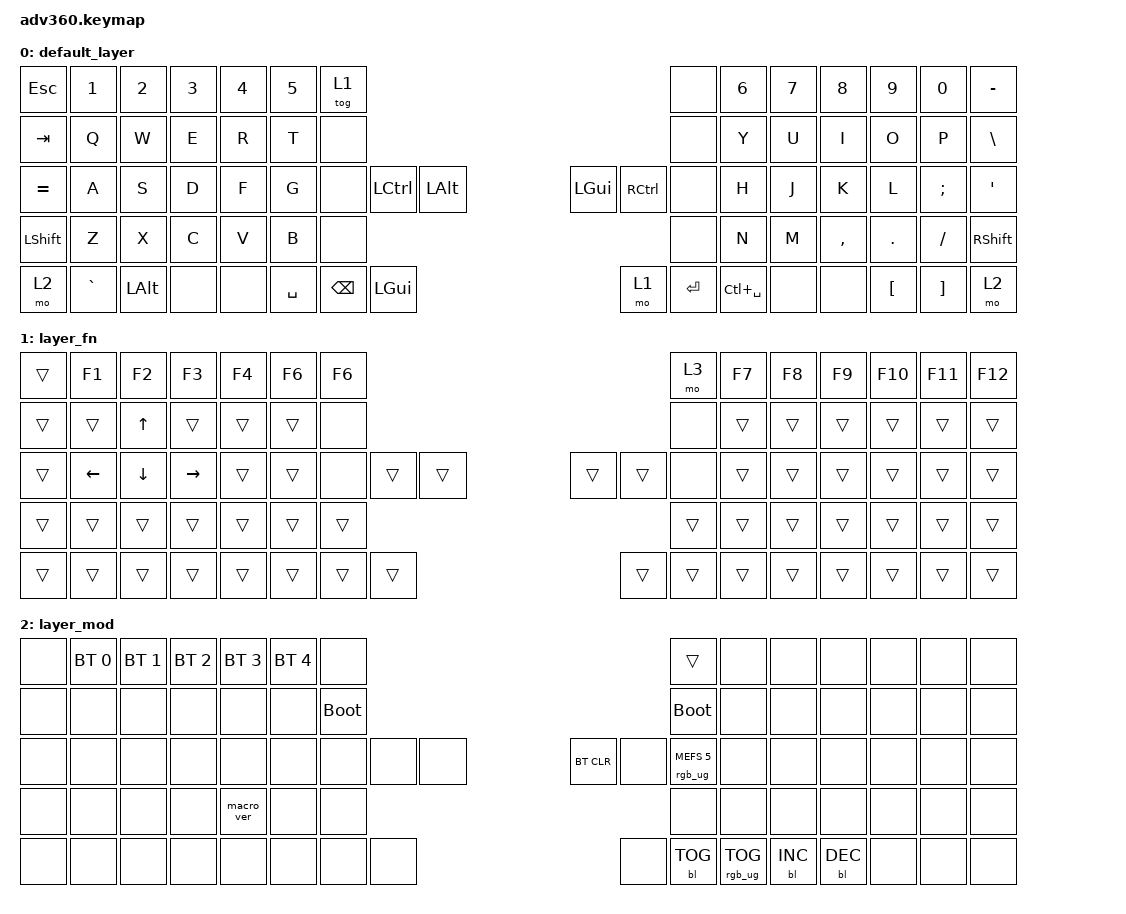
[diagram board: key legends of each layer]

/*
 * Copyright (c) 2020 The ZMK Contributors
 *
 * SPDX-License-Identifier: MIT
 */


/* THIS FILE WAS GENERATED!
 *
 * This file was generated automatically. You may or may not want to
 * edit it directly.
 */

#include <behaviors.dtsi>
#include <dt-bindings/zmk/keys.h>
#include <dt-bindings/zmk/bt.h>
#include <dt-bindings/zmk/rgb.h>
#include <dt-bindings/zmk/backlight.h>

/ {
  behaviors {
    #include "macros.dtsi"
    #include "version.dtsi"

    hm: homerow_mods {
        compatible = "zmk,behavior-hold-tap";
        label = "HOMEROW_MODS";
        #binding-cells = <2>;
        tapping-term-ms = <200>;
        quick_tap_ms = <175>;
        flavor = "tap-preferred";
        bindings = <&kp>, <&kp>;
    };
  };

    keymap {
        compatible = "zmk,keymap";


        default_layer {
            bindings = <
   &kp ESC     &kp N1        &kp N2  &kp N3  &kp N4  &kp N5               &tog 1                                                                        &none  &kp N6  &kp N7     &kp N8    &kp N9    &kp N0  &kp MINUS
   &kp TAB      &kp Q         &kp W   &kp E   &kp R   &kp T                &none                                                                        &none   &kp Y   &kp U      &kp I     &kp O     &kp P   &kp BSLH
 &kp EQUAL      &kp A         &kp S   &kp D   &kp F   &kp G                &none      &kp LCTRL  &kp LALT                  &kp LGUI  &kp RCTRL          &none   &kp H   &kp J      &kp K     &kp L  &kp SEMI    &kp SQT
 &kp LSHFT      &kp Z         &kp X   &kp C   &kp V   &kp B                                         &none                     &none                             &kp N   &kp M  &kp COMMA   &kp DOT  &kp FSLH  &kp RSHFT
     &mo 2  &kp GRAVE  &kp LEFT_ALT   &none   &none                    &kp SPACE  &kp BACKSPACE  &kp LGUI                     &mo 1  &kp ENTER  &kp LC(SPACE)           &none      &none  &kp LBKT  &kp RBKT      &mo 2
            >;
        };

        layer_fn {
            bindings = <
 &trans          &kp F1          &kp F2           &kp F3  &kp F4  &kp F6            &kp F6                                                   &mo 3  &kp F7  &kp F8  &kp F9  &kp F10  &kp F11  &kp F12
 &trans          &trans    &kp UP_ARROW           &trans  &trans  &trans             &none                                                   &none  &trans  &trans  &trans   &trans   &trans   &trans
 &trans  &kp LEFT_ARROW  &kp DOWN_ARROW  &kp RIGHT_ARROW  &trans  &trans             &none  &trans  &trans                  &trans  &trans   &none  &trans  &trans  &trans   &trans   &trans   &trans
 &trans          &trans          &trans           &trans  &trans  &trans                            &trans                  &trans                  &trans  &trans  &trans   &trans   &trans   &trans
 &trans          &trans          &trans           &trans  &trans                    &trans  &trans  &trans                  &trans  &trans  &trans          &trans  &trans   &trans   &trans   &trans
            >;
        };

        layer_mod {
            bindings = <
  &none  &bt BT_SEL 0  &bt BT_SEL 1  &bt BT_SEL 2  &bt BT_SEL 3  &bt BT_SEL 4                  &none                                                                          &trans   &none       &none       &none   &none   &none   &none
  &none         &none         &none         &none         &none         &none            &bootloader                                                                     &bootloader   &none       &none       &none   &none   &none   &none
  &none         &none         &none         &none         &none         &none                  &none   &none   &none                  &bt BT_CLR       &none  &rgb_ug RGB_MEFS_CMD 5   &none       &none       &none   &none   &none   &none
  &none         &none         &none         &none    &macro_ver         &none                                  &none                       &none                                       &none       &none       &none   &none   &none   &none
  &none         &none         &none         &none         &none                                &none   &none   &none                       &none  &bl BL_TOG         &rgb_ug RGB_TOG          &bl BL_INC  &bl BL_DEC   &none   &none   &none
            >;
        };

    };
};
